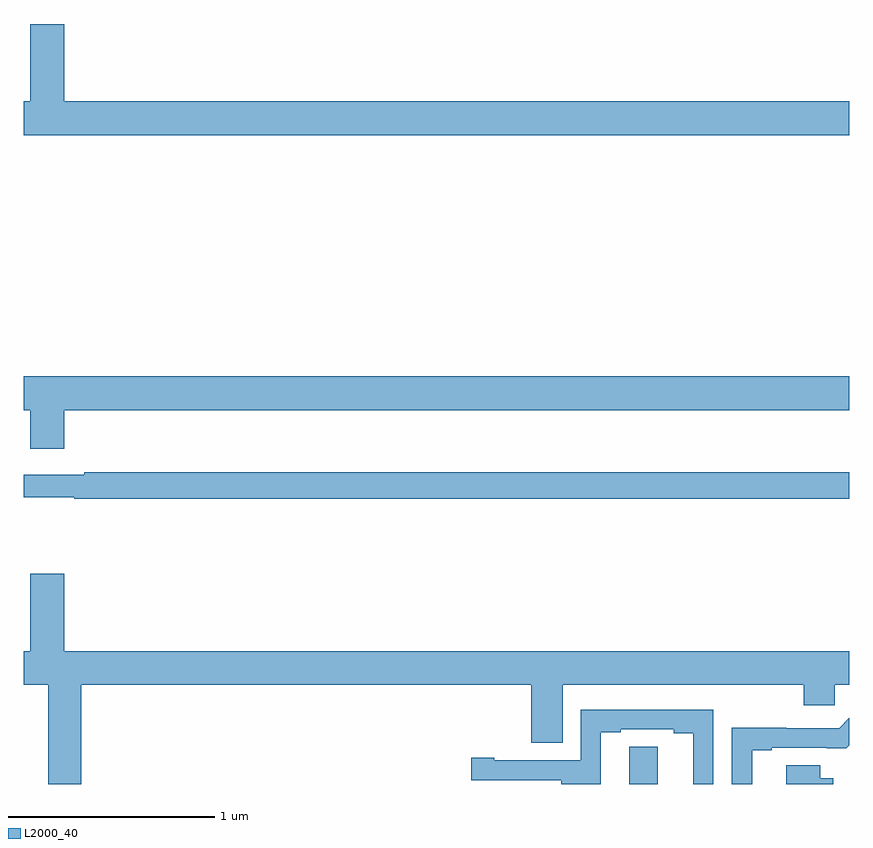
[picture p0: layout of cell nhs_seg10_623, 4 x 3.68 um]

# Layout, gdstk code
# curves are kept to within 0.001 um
import gdstk
lib = gdstk.Library(unit=1e-6, precision=1e-09)
def P(c, l, *ps):  # polygons
    for p in ps: c.add(gdstk.Polygon(p, *l))
L2000_40 = (2000, 40)

nhs_seg10_623 = lib.new_cell('nhs_seg10_623')
P(nhs_seg10_623, L2000_40, [(145,1305.808),(141.196,1305.808),(141.196,1306.183),(141.032,1306.183),(141.032,1305.808),(141,1305.808),(141,1305.644),(145,1305.644)],
  [(141.196,1304.312),(145,1304.312),(145,1304.476),(141,1304.476),(141,1304.312),(141.032,1304.312),(141.032,1304.124),(141.196,1304.124)],
  [(145,1304.011),(141.292,1304.011),(141.292,1303.998),(141,1303.998),(141,1303.89),(141.245,1303.89),(141.245,1303.882),(145,1303.882)],
  [(141.278,1302.98),(143.459,1302.98),(143.459,1302.7),(143.611,1302.7),(143.611,1302.98),(144.779,1302.98),(144.779,1302.882),(144.93,1302.882),(144.93,1302.98),(145,1302.98),(145,1303.144),(141.196,1303.144),(141.196,1303.519),(141.032,1303.519),(141.032,1303.144),(141,1303.144),(141,1302.98),(141.118,1302.98),(141.118,1302.5),(141.278,1302.5)],
  [(143.797,1302.75),(143.893,1302.75),(143.893,1302.765),(144.149,1302.765),(144.149,1302.745),(144.245,1302.745),(144.245,1302.5),(144.342,1302.5),(144.342,1302.861),(143.7,1302.861),(143.7,1302.615),(143.281,1302.615),(143.281,1302.628),(143.169,1302.628),(143.169,1302.519),(143.604,1302.519),(143.604,1302.5),(143.797,1302.5)],
  [(144.529,1302.663),(144.625,1302.663),(144.625,1302.675),(144.986,1302.674),(145,1302.688),(145,1302.82),(144.951,1302.771),(144.695,1302.771),(144.695,1302.773),(144.432,1302.773),(144.432,1302.5),(144.529,1302.5)],
  [(144.073,1302.68),(143.934,1302.68),(143.934,1302.572),(143.933,1302.572),(143.933,1302.5),(144.073,1302.5)],
  [(144.922,1302.529),(144.859,1302.529),(144.859,1302.59),(144.695,1302.59),(144.695,1302.5),(144.922,1302.5)])

lib.write_gds('nhs_seg10_623.gds')
